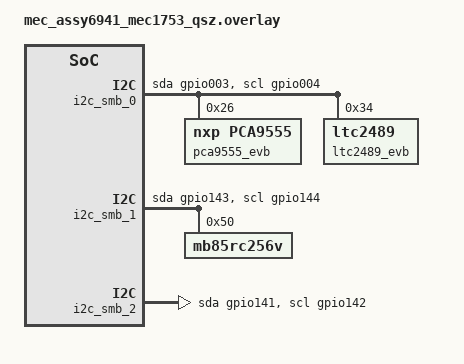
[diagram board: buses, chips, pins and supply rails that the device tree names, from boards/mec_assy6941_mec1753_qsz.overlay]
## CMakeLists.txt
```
# Copyright (c) 2025 Microchip Technology Inc.
#
# SPDX-License-Identifier: Apache-2.0
#
cmake_minimum_required(VERSION 3.20.0)

find_package(Zephyr REQUIRED HINTS $ENV{ZEPHYR_BASE})
project(mec_app_i2c)

FILE(GLOB app_sources src/*.c)
target_sources(app PRIVATE ${app_sources})
```

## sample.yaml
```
sample:
  description: Microchip MEC EVB I2C sample
  name: microchip_mec_i2c
tests:
  sample.board.i2c:
    platform_allow:
      - mec1501modular_assy6885
      - mec15xxevb_assy6853
      - mec172xevb_assy6906
      - mec172xmodular_assy6930
      - mec_assy6941/mec1743_qlj
      - mec_assy6941/mec1743_qsz
      - mec_assy6941/mec1753_qlj
      - mec_assy6941/mec1753_qsz
    tags: i2c
    depends_on:
      - gpio
      - pinctrl
      - i2c
```

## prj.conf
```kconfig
# Enable config log
CONFIG_STDOUT_CONSOLE=y
CONFIG_LOG=y
# default CONFIG_LOG_BUFFER_SIZE=1024
# increase since we are logging I2C driver target mode callbacks
CONFIG_LOG_BUFFER_SIZE=6144

# Default system work queue stack size is 1024 bytes
# Default works for this sample. A real application
# with other drivers or tasks using kworkq may require
# this value to be increased.
# CONFIG_SYSTEM_WORKQUEUE_STACK_SIZE=1024

CONFIG_I2C=y
CONFIG_I2C_XEC_PORT_MUX=y
CONFIG_I2C_TARGET=n
CONFIG_I2C_TARGET_BUFFER_MODE=n
CONFIG_I2C_LOG_LEVEL_DBG=y

# CONFIG_PM=y
CONFIG_PM_DEVICE=y

# debug macro expansion in C source files
# does not delete build/../source_c_file_name.c.i
# CONFIG_COMPILER_SAVE_TEMPS=y
```

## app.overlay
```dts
/*
 * Copyright (c) 2025 Microchip Technology Inc.
 *
 * SPDX-License-Identifier: Apache-2.0
 */

#include <zephyr/dt-bindings/gpio/gpio.h>
#include <zephyr/dt-bindings/gpio/microchip-xec-gpio.h>

/ {
	aliases {
		i2c0 = &i2c_smb_0;
		i2c-0 = &i2c_smb_0;
		i2c1 = &i2c_smb_1;
		i2c-1 = &i2c_smb_1;
		i2c-nl = &i2c_smb_2;
	};
};

/* Central DMA controller */
&dmac {
	compatible = "microchip,xec-dmac";
	status = "okay";
};

/* I2C Port 0 */
&i2c00_sda_gpio003 {
	drive-open-drain;
	output-enable;
	output-high;
	drive-strength = "4x";
};

&i2c00_scl_gpio004 {
	drive-open-drain;
	output-enable;
	output-high;
	drive-strength = "4x";
};

/* I2C Port 4 */
&i2c04_sda_gpio143 {
	drive-open-drain;
	output-enable;
	output-high;
	drive-strength = "4x";
};

&i2c04_scl_gpio144 {
	drive-open-drain;
	output-enable;
	output-high;
	drive-strength = "4x";
};

/* I2C Port 5 */
&i2c05_sda_gpio141 {
	drive-open-drain;
	output-enable;
	output-high;
	drive-strength = "4x";
};
&i2c05_scl_gpio142 {
	drive-open-drain;
	output-enable;
	output-high;
	drive-strength = "4x";
};

/* Zephyr will load NXP PCA9555 driver after i2c_smb_0 driver
 * Zephyr does not have a driver for ltc2489 I2C delta-sigma ADC
 */

&i2c_smb_0 {
	compatible = "microchip,xec-i2c-v3";
	status = "okay";

	port-sel = < 0 >;

	sda-gpios = < MCHP_GPIO_DECODE_003 0 >;
	scl-gpios = < MCHP_GPIO_DECODE_004 0 >;

	pinctrl-0 = < &i2c00_sda_gpio003 &i2c00_scl_gpio004 >;
	pinctrl-names = "default";

	pca9555_evb: pca9555@26 {
		/* compatible = "nxp,pca9555"; */
		reg = <0x26>;
		/* ngpios = <16>; */
		/* gpio-controller; */
		/* #gpio-cells = <2>; */
	};

	ltc2489_evb: ltc2489@34 {
		reg = <0x34>;
		#io-channels-cells = <1>;
	};
};

&i2c_smb_1 {
	compatible = "microchip,xec-i2c-v3";
	status = "okay";

	port-sel = < 4 >;

	sda-gpios = < MCHP_GPIO_DECODE_143 0 >;
	scl-gpios = < MCHP_GPIO_DECODE_144 0 >;

	pinctrl-0 = < &i2c04_sda_gpio143 &i2c04_scl_gpio144 >;
	pinctrl-names = "default";

};

/* I2C-NL and Central DMA controller race condition.
 * We must ensure DMA channel interrupt priorities are higher
 * than device drivers using DMA channels. The DMA driver interrupt
 * handler must run and complete before the peripheral driver using
 * DMA driver. Why? Peripheral driver may call DMA driver to reload
 * a channel from its ISR. If the DMA driver interrupt handler then
 * runs it will be out of sync with the reloaded channel!
 * Chip DTSI sets all interrupt priorities of dmac to 2.
 * We set any I2C controller using microchip,xec-i2c-nl driver to
 * priority 3 to 7(lowest).
 */
&i2c_smb_2 {
	compatible = "microchip,xec-i2c-nl";
	status = "okay";

	/* We must set I2C-NL interrupt for a lesser priority than DMA channels */
	interrupts = <22 3>;

	clock-frequency = <I2C_BITRATE_STANDARD>;

	port-sel = < 5 >;

	sda-gpios = < MCHP_GPIO_DECODE_141 0 >;
	scl-gpios = < MCHP_GPIO_DECODE_142 0 >;

	pinctrl-0 = < &i2c05_sda_gpio141 &i2c05_scl_gpio142 >;
	pinctrl-names = "default";

	dmas = <&dmac 4 5>, <&dmac 5 4>;
	dma-names = "host_mode", "target_mode";

	/* Transfer buffer size defaults to 32 bytes plus internal padding.
	 * Application can change the size: xfr-buffer-size = < size_in_bytes >;
	 * Miminum size is 4 bytes. Maximum size is 0xfffc bytes.
	 */
};
```

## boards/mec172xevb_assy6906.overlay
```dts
/*
 * Copyright (c) 2025 Microchip Technology Inc.
 *
 * SPDX-License-Identifier: Apache-2.0
 */

#include <microchip/mec5/mec1753qlj-a0-pinctrl.dtsi>

/ {
	aliases: {
		i2c-bb = &i2c_smb_0;
		i2c-nl = &i2c_smb_1;
		&i2c-nl-target = &i2c_smb_2;
	};
};

/* I2C port 0 */
&i2c00_sda_gpio003 = {
	drive-open-drain;
	output-enable;
	output-high;
	drive-strength = "4x";
};
&i2c00_scl_gpio004 = {
	drive-open-drain;
	output-enable;
	output-high;
	drive-strength = "4x";
};

/* I2C Port 4 */
&i2c04_sda_gpio143 {
	drive-open-drain;
	output-enable;
	output-high;
	drive-strength = "4x";
};
&i2c04_scl_gpio144 {
	drive-open-drain;
	output-enable;
	output-high;
	drive-strength = "4x";
};

/* I2C Port 5 */
&i2c05_sda_gpio141 {
	drive-open-drain;
	output-enable;
	output-high;
	drive-strength = "4x";
};
&i2c05_scl_gpio142 {
	drive-open-drain;
	output-enable;
	output-high;
	drive-strength = "4x";
};

&i2c_smb_0 {
	compatible = "microchip,xec-i2c-v2";
	clock-frequency = <I2C_BITRATE_STANDARD>;
	pinctrl-0 = <&i2c00_sda_gpio003 &i2c00_scl_gpio004>;
	pinctrl-names = "default";
	status = "okay";
};

&i2c_smb_1 {
	compatible = "microchip,xec-i2c-nl";
	clock-frequency = <I2C_BITRATE_STANDARD>;
	pinctrl-0 = <&i2c04_sda_gpio143 &i2c04_scl_gpio144>;
	pinctrl-names = "default";
	status = "enabled";
};

&i2c_smb_2 {
	compabile = "microchip,xec-i2c-nl";
	reg = <0x40004800 0x80>;
	clock-frequency = <I2C_BITRATE_STANDARD>;
	pinctrl-0 = <&i2c05_sda_gpio141 &i2c05_scl_gpio142>;
	pinctrl-names = "default";
	status = "disabled";
};
```

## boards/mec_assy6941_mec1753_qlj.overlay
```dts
/*
 * Copyright (c) 2025 Microchip Technology Inc.
 *
 * SPDX-License-Identifier: Apache-2.0
 */

#include <microchip/mec5/mec1753qlj-a0-pinctrl.dtsi>

/ {
	aliases {
		i2c-bb = &i2c_smb_0;
		i2c-nl = &i2c_smb_1;
		i2c-nl-target = &i2c_smb_2;
	};
};

&dmac {
	dma-channel-mask = <0xffff0>;
	status = "okay";
};

/* I2C port 0 */
&i2c00_sda_gpio003 {
	drive-open-drain;
	output-enable;
	output-high;
	drive-strength = "4x";
};
&i2c00_scl_gpio004 {
	drive-open-drain;
	output-enable;
	output-high;
	drive-strength = "4x";
};

/* I2C Port 4 */
&i2c04_sda_gpio143 {
	drive-open-drain;
	output-enable;
	output-high;
	drive-strength = "4x";
};
&i2c04_scl_gpio144 {
	drive-open-drain;
	output-enable;
	output-high;
	drive-strength = "4x";
};

/* I2C Port 5 */
&i2c05_sda_gpio141 {
	drive-open-drain;
	output-enable;
	output-high;
	drive-strength = "4x";
};
&i2c05_scl_gpio142 {
	drive-open-drain;
	output-enable;
	output-high;
	drive-strength = "4x";
};

&i2c_smb_0 {
/*	compatible = "microchip,xec-i2c-nl"; */
	compatible = "microchip,xec-i2c-v2";
	clock-frequency = <I2C_BITRATE_STANDARD>;
	pinctrl-0 = <&i2c00_sda_gpio003 &i2c00_scl_gpio004>;
	pinctrl-names = "default";
	port-sel = <0>;
/*	pcrs = <1 10>; */
/*	dmas = <&dmac 0 1>, <&dmac 1 0>; */
/*	dma-names = "cm", "tm"; */
/*	cm-buffer-size = <16>; */
/*	tm-rx-buffer-size = <16>; */
	status = "okay";
};

&i2c_smb_1 {
	compatible = "microchip,xec-i2c-nl";
	clock-frequency = <I2C_BITRATE_STANDARD>;
	pinctrl-0 = <&i2c04_sda_gpio143 &i2c04_scl_gpio144>;
	pinctrl-names = "default";
	port-sel = <4>;
	dmas = <&dmac 2 3>, <&dmac 3 2>;
	dma-names = "cm", "tm";
	cm-buffer-size = <16>;
	tm-rx-buffer-size = <16>;
	status = "okay";
};

&i2c_smb_2 {
	compabile = "microchip,xec-i2c-nl";
	clock-frequency = <I2C_BITRATE_STANDARD>;
	pinctrl-0 = <&i2c05_sda_gpio141 &i2c05_scl_gpio142>;
	pinctrl-names = "default";
	port-sel = <5>;
	dmas = <&dmac 4 5>, <&dmac 5 4>;
	dma-names = "cm", "tm";
	status = "disabled";
};
```

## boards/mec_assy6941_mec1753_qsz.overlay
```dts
/*
 * Copyright (c) 2025 Microchip Technology Inc.
 *
 * SPDX-License-Identifier: Apache-2.0
 */

/ {
	aliases {
		i2c0 = &i2c_smb_0;
		i2c-0 = &i2c_smb_0;
		i2c1 = &i2c_smb_1;
		i2c-1 = &i2c_smb_1;
		i2c2 = &i2c_smb_2;
		i2c-2 = &i2c_smb_2;
	};

	zephyr,user {
		pinctrl-0 = <&tst_clk_out_gpio060>;
		pinctrl-names = "default";
	};
};

/* I2C Port 0 */
&i2c00_scl_gpio004 {
	drive-open-drain;
	output-enable;
	output-high;
	drive-strength = "4x";
};
&i2c00_sda_gpio003 {
	drive-open-drain;
	output-enable;
	output-high;
	drive-strength = "4x";
};

/* I2C Port 4 */
&i2c04_sda_gpio143 {
	drive-open-drain;
	output-enable;
	output-high;
	drive-strength = "4x";
};
&i2c04_scl_gpio144 {
	drive-open-drain;
	output-enable;
	output-high;
	drive-strength = "4x";
};

/* I2C Port 5 */
&i2c05_sda_gpio141 {
	drive-open-drain;
	output-enable;
	output-high;
	drive-strength = "4x";
};
&i2c05_scl_gpio142 {
	drive-open-drain;
	output-enable;
	output-high;
	drive-strength = "4x";
};

&i2c_smb_0 {
	compatible = "microchip,xec-i2c-ctrl";
	pcrs = < 1 10 >;
	port_sel = < 0 >;
	pinctrl-0 = < &i2c00_sda_gpio003 &i2c00_scl_gpio004 >;
	pinctrl-names = "default";

	pca9555_evb: pca9555@26 {
		/* Zephyr will load NXP PCA9555 driver after MEC5 I2C because it calls MEC5 I2C during init */
		compatible = "nxp,pca9555";
		reg = <0x26>;
		ngpios = <16>;
		gpio-controller;
		#gpio-cells = <2>;
	};

	ltc2489_evb: ltc2489@34 {
		/* No Zephyr driver exists */
		reg = <0x34>;
		#io-channels-cells = <1>;
	};

	status = "okay";
};

&i2c_smb_1 {
	compatible = "microchip,xec-i2c-ctrl";
	pcrs = < 3, 13 >;
	port_sel = < 4 >;
	pinctrl-0 = < &i2c04_sda_gpio143 &i2c04_scl_gpio144 >;
	pinctrl-names = "default";

	/* External Fujitsu MB85RC256V 256KB (32K x 8) FRAM */
	mb85rc256v: mb85rc256v@50 {
		/* No Zephyr driver exists */
		reg = <0x50>;
	};

	status = "okay";
};

&i2c_smb_2 {
	compatible = "microchip,xec-i2c-ctrl";
	pcrs = < 3, 14 >;
	interrupts = <22 3>; /* lower priority than default priority of DMA channels */
	port_sel = < 5 >;
	pinctrl-0 = < &i2c05_sda_gpio141 &i2c05_scl_gpio142 >;
	pinctrl-names = "default";
/*	dmas = <&dmac 4 0x5>, <&dmac 5 0x4>; */
/*	dma-names = "cm", "tm"; */
	status = "okay";
};
```

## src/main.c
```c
/*
 * Copyright (c) 2025 Microchip Technology Inc.
 *
 * SPDX-License-Identifier: Apache-2.0
 */

#include "sys/errno.h"
#include <errno.h>
#include <stdio.h>
#include <string.h>
#include <soc.h>

#include <zephyr/kernel.h>
#include <zephyr/device.h>
#include <zephyr/drivers/i2c.h>
#include <zephyr/drivers/i2c/mchp_xec_i2c.h>
#include <zephyr/logging/log.h>

LOG_MODULE_REGISTER(app, CONFIG_LOG_DEFAULT_LEVEL);

#include "target_tests.h"

#define PCA9555_CMD_PORT0_IN  0
#define PCA9555_CMD_PORT1_IN  1u
#define PCA9555_CMD_PORT0_OUT 2u
#define PCA9555_CMD_PORT1_OUT 3u
#define PCA9555_CMD_PORT0_POL 4u
#define PCA9555_CMD_PORT1_POL 5u
#define PCA9555_CMD_PORT0_CFG 6u
#define PCA9555_CMD_PORT1_CFG 7u

#define PCA9555_I2C_ADDR DT_REG_ADDR(DT_NODELABEL(pca9555_evb))
#define LTC2489_I2C_ADDR DT_REG_ADDR(DT_NODELABEL(ltc2489_evb))
#define FRAM_I2C_ADDR    0x50u

static const struct device *i2c0_dev = DEVICE_DT_GET(DT_ALIAS(i2c0));
static const struct device *i2c1_dev = DEVICE_DT_GET(DT_ALIAS(i2c1));

#if DT_HAS_COMPAT_STATUS_OKAY(microchip_xec_i2c_nl)
#define APP_HAS_I2C_NL
static const struct device *i2c_nl_dev = DEVICE_DT_GET(DT_ALIAS(i2c_nl));
#endif

volatile uint32_t spin_val;

uint8_t i2c_wr_buf[64];
uint8_t i2c_rd_buf[64];

#define TARGET_I2C_ADDR2_RX_BUF_SIZE 10
#define TARGET_I2C_ADDR2_TX_BUF_SIZE 10

uint8_t i2c0_tx_buf[256];
uint8_t i2c0_rx_buf[256];

#ifdef APP_HAS_I2C_NL
static int i2c_nl_test1(const struct device *i2c_dev);
#endif

static int fill_buf(uint8_t *buf, uint32_t buflen, uint8_t val, uint8_t flags);

int main(void)
{
	uint32_t i2c0_config = 0;
	uint16_t i2c_addr = 0;
	size_t nread = 0, nwrite = 0;
#ifdef APP_HAS_I2C_NL
	bool i2c_nl_ready = false;
#endif
	int rc = 0;

	if (!device_is_ready(i2c0_dev)) {
		LOG_ERR("I2C 0 device [%s] not ready!", i2c0_dev->name);
		return -1;
	}

	if (!device_is_ready(i2c1_dev)) {
		LOG_ERR("I2C 1 device [%s] not ready!", i2c1_dev->name);
		return -2;
	}

#ifdef APP_HAS_I2C_NL
	if (!device_is_ready(i2c_nl_dev)) {
		LOG_ERR("I2C 2 device [%s] not ready!", i2c_nl_dev->name);
		return -2;
	} else {
		i2c_nl_ready = true;
	}
#endif

	LOG_INF("Configure I2C 0 as controller at 100KHz");

	i2c0_config = I2C_MODE_CONTROLLER | I2C_SPEED_SET(I2C_SPEED_STANDARD);

	rc = i2c_configure(i2c0_dev, i2c0_config);
	if (rc != 0) {
		LOG_ERR("I2C 0 device config failed");
		return -3;
	}

	LOG_INF("PCA9555 on I2C 0: Read the two data registers");

	memset(i2c_rd_buf, 0x55, sizeof(i2c_rd_buf));

	i2c_addr = (uint16_t)PCA9555_I2C_ADDR;
	i2c_wr_buf[0] = PCA9555_CMD_PORT0_IN;

	nread = 2u;
	nwrite = 1u;

	rc = i2c_write_read(i2c0_dev, i2c_addr, (const void *)i2c_wr_buf, nwrite,
			    (void *)i2c_rd_buf, nread);
	if (rc != 0) {
		LOG_ERR("i2c_write_read error (%d)", rc);
		return -4;
	}

#ifdef APP_HAS_I2C_NL
	rc = i2c_nl_test1(i2c_nl_dev);
	LOG_INF("I2C-NL test 1 returned (%d)", rc);
#endif

#if defined(CONFIG_I2C_TARGET) && defined(APP_HAS_I2C_NL)
	rc = target_i2c_nl_prepare_tests(i2c0_dev);
	LOG_INF("Target I2C-NL prepare returned (%d)", rc);

	rc = target_i2c_nl_run_tests(i2c0_dev);
	LOG_INF("Target I2C-NL run tests returned (%d)", rc);
#endif

	LOG_INF("Program End");

	return 0;
}

static int fill_buf(uint8_t *buf, uint32_t buflen, uint8_t val, uint8_t flags)
{
	if ((buf == NULL) || (buflen == 0)) {
		return -EINVAL;
	}

	if (flags == 0) {
		memset((void *)buf, val, buflen);
	} else {
		for (uint32_t n = 0; n < buflen; n++) {
			buf[n] = val;
			val++;
		}
	}

	return 0;
}

#ifdef APP_HAS_I2C_NL
#define TEST_ORDER_WR_RD
 /* HW issue exists independent of transaction order. */

static int i2c_nl_test1(const struct device *i2c_dev)
{
	struct i2c_msg msgs[4] = {0};
	int rc = 0;
	uint16_t i2c_addr = 0;
	uint8_t nmsgs = 0;

	fill_buf(i2c0_tx_buf, 16u, 0x11u, 1u);

#ifdef TEST_ORDER_WR_RD
	LOG_INF("Test I2C-NL one write message");
	i2c_addr = FRAM_I2C_ADDR;
	nmsgs = 1u;

	msgs[0].buf = i2c0_tx_buf;
	msgs[0].len = 4u;
	msgs[0].flags = I2C_MSG_WRITE | I2C_MSG_STOP;

	rc = i2c_transfer(i2c_dev, msgs, nmsgs, i2c_addr);
	LOG_INF("  API returned (%d)", rc);

	LOG_INF("Test I2C-NL one read message");
	memset((void *)i2c0_rx_buf, 0xAA, 8);

	i2c_addr = FRAM_I2C_ADDR;
	nmsgs = 1u;

	msgs[0].buf = i2c0_rx_buf;
	msgs[0].len = 4u;
	msgs[0].flags = I2C_MSG_READ | I2C_MSG_STOP;

	rc = i2c_transfer(i2c_dev, msgs, nmsgs, i2c_addr);
	LOG_INF("  API returned (%d)", rc);
#else
	LOG_INF("Test I2C-NL one read message");
	memset((void *)i2c0_rx_buf, 0xAA, 8);

	i2c_addr = FRAM_I2C_ADDR;
	nmsgs = 1u;

	msgs[0].buf = i2c0_rx_buf;
	msgs[0].len = 4u;
	msgs[0].flags = I2C_MSG_READ | I2C_MSG_STOP;

	rc = i2c_transfer(i2c_dev, msgs, nmsgs, i2c_addr);
	LOG_INF("  API returned (%d)", rc);

	LOG_INF("Test I2C-NL one write message");
	i2c_addr = FRAM_I2C_ADDR;
	nmsgs = 1u;

	msgs[0].buf = i2c0_tx_buf;
	msgs[0].len = 4u;
	msgs[0].flags = I2C_MSG_WRITE | I2C_MSG_STOP;

	rc = i2c_transfer(i2c_dev, msgs, nmsgs, i2c_addr);
	LOG_INF("  API returned (%d)", rc);
#endif
	LOG_INF("Test I2C-NL two write messages");
	i2c_addr = FRAM_I2C_ADDR;
	nmsgs = 2u;

	msgs[0].buf = i2c0_tx_buf;
	msgs[0].len = 2u;
	msgs[0].flags = I2C_MSG_WRITE;

	msgs[1].buf = &i2c0_tx_buf[2];
	msgs[1].len = 4u;
	msgs[1].flags = I2C_MSG_WRITE | I2C_MSG_STOP;

	rc = i2c_transfer(i2c_dev, msgs, nmsgs, i2c_addr);
	LOG_INF("  API returned (%d)", rc);

	LOG_INF("Test I2C-NL Write-Read");
	i2c_addr = FRAM_I2C_ADDR;
	nmsgs = 2u;

	msgs[0].buf = i2c0_tx_buf;
	msgs[0].len = 2u;
	msgs[0].flags = I2C_MSG_WRITE;

	msgs[1].buf = i2c0_rx_buf;
	msgs[1].len = 8u;
	msgs[1].flags = I2C_MSG_READ | I2C_MSG_STOP;

	rc = i2c_transfer(i2c_dev, msgs, nmsgs, i2c_addr);
	LOG_INF("  API returned (%d)", rc);

	LOG_INF("Test I2C-NL Write message > driver xfrbuf size");
	fill_buf(i2c0_tx_buf, 66u, 0, 1);

	i2c_addr = FRAM_I2C_ADDR;
	nmsgs = 1u;

	msgs[0].buf = i2c0_tx_buf;
	msgs[0].len = 66u;
	msgs[0].flags = I2C_MSG_WRITE | I2C_MSG_STOP;

	rc = i2c_transfer(i2c_dev, msgs, nmsgs, i2c_addr);
	LOG_INF("  API returned (%d)", rc);

	/* Large Write-Write */
	LOG_INF("Test I2C-NL Write-Write 64 bytes to FRAM address 0x2000");
	i2c_addr = FRAM_I2C_ADDR;
	nmsgs = 2u;

	fill_buf(&i2c0_tx_buf[2], 64, 0, 1);

	i2c0_tx_buf[0] = 0x20u; /* address MSB */
	i2c0_tx_buf[1] = 0u; /* address LSB */

	msgs[0].buf = i2c0_tx_buf;
	msgs[0].len = 2u;
	msgs[0].flags = I2C_MSG_WRITE;

	msgs[1].buf = &i2c0_tx_buf[2];
	msgs[1].len = 64u;
	msgs[1].flags = I2C_MSG_WRITE | I2C_MSG_STOP;

	rc = i2c_transfer(i2c_dev, msgs, nmsgs, i2c_addr);
	LOG_INF("  API returned (%d)", rc);


	/* Large Write-Read */
	LOG_INF("Test I2C-NL Write-Read 64 bytes from FRAM address 0x2000");
	i2c_addr = FRAM_I2C_ADDR;
	nmsgs = 2u;

	fill_buf(i2c0_rx_buf, 64, 0x55, 0);

	i2c0_tx_buf[0] = 0x20u; /* address MSB */
	i2c0_tx_buf[1] = 0u; /* address LSB */

	msgs[0].buf = i2c0_tx_buf;
	msgs[0].len = 2u;
	msgs[0].flags = I2C_MSG_WRITE;

	msgs[1].buf = i2c0_rx_buf;
	msgs[1].len = 64u;
	msgs[1].flags = I2C_MSG_READ | I2C_MSG_STOP;

	rc = i2c_transfer(i2c_dev, msgs, nmsgs, i2c_addr);
	LOG_INF("  API returned (%d)", rc);

	rc = memcmp(&i2c0_tx_buf[2], i2c0_rx_buf, 64);
	LOG_INF("Mem compare 64 byte TX data with RX data is (%d)", rc);

	return 0;
}
#endif /* APP_HAS_I2C_NL */
```

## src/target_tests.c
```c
/*
 * Copyright (c) 2025 Microchip Technology Inc.
 *
 * SPDX-License-Identifier: Apache-2.0
 */

#include <zephyr/drivers/i2c.h>
#include <zephyr/drivers/i2c/mchp_xec_i2c.h>
#include <zephyr/logging/log.h>
#include "target_tests.h"

LOG_MODULE_DECLARE(app);

/* ISSUE:
 * CONFIG_I2C_TARGET and CONFIG_I2C_TARGET_BUFFER_MODE are global kconfig's
 *
 */
#if 0 /* unused at this time */
static const struct device *i2c1_dev = DEVICE_DT_GET(DT_ALIAS(i2c1));
#endif

#if DT_HAS_COMPAT_STATUS_OKAY(microchip_xec_i2c_nl)
#define APP_HAS_I2C_NL
static const struct device *i2c_nl_dev = DEVICE_DT_GET(DT_ALIAS(i2c_nl));
#endif

static struct i2c_target_config i2c1_target;
static struct i2c_target_config i2c2_target;
static volatile uint32_t i2c1_target_wr_req_cb_cnt;
static volatile uint32_t i2c1_target_rd_req_cb_cnt;
static volatile uint32_t i2c1_target_wr_recv_cb_cnt;
static volatile uint32_t i2c1_target_rd_proc_cb_cnt;
static volatile uint32_t i2c1_target_stop_cb_cnt;
#ifdef CONFIG_I2C_TARGET_BUFFER_MODE
static volatile uint32_t i2c2_target_buf_wr_recv_cb_cnt;
static volatile uint32_t i2c2_target_buf_rd_req_cb_cnt;
static volatile uint32_t i2c2_target_stop_cb_cnt;
#endif

static int i2c1_target_write_requested_cb(struct i2c_target_config *config);
static int i2c1_target_read_requested_cb(struct i2c_target_config *config, uint8_t *val);
static int i2c1_target_write_received_cb(struct i2c_target_config *config, uint8_t val);
static int i2c1_target_read_processed_cb(struct i2c_target_config *config, uint8_t *val);
static int i2c1_target_stop_cb(struct i2c_target_config *config);

static int i2c2_target_stop_cb(struct i2c_target_config *config);

#ifdef CONFIG_I2C_TARGET_BUFFER_MODE

#define I2C2_TM_HOST_WR_BUF_SIZE 128u
#define I2C2_TM_HOST_RD_BUF_SIZE 48u

uint8_t *i2c_tm_host_wr_buf_ptr;
uint8_t *i2c_tm_host_rd_buf_ptr;
uint8_t i2c_tm_host_wr_buf[I2C2_TM_HOST_WR_BUF_SIZE];
uint8_t i2c_tm_host_rd_buf[I2C2_TM_HOST_RD_BUF_SIZE];

static void i2c2_target_buf_write_received_cb(struct i2c_target_config *config, uint8_t *ptr,
					      uint32_t len);
static int i2c2_target_buf_read_requested_cb(struct i2c_target_config *config, uint8_t **ptr,
					     uint32_t *len);
#endif

const struct i2c_target_callbacks i2c_byte_mode_callbacks = {
	.write_requested = i2c1_target_write_requested_cb,
	.read_requested = i2c1_target_read_requested_cb,
	.write_received = i2c1_target_write_received_cb,
	.read_processed = i2c1_target_read_processed_cb,
#ifdef CONFIG_I2C_TARGET_BUFFER_MODE
	.buf_write_received = NULL,
	.buf_read_requested = NULL,
#endif
	.stop = i2c1_target_stop_cb,
};

const struct i2c_target_callbacks i2c_buffer_mode_callbacks = {
	.write_requested = NULL,
	.read_requested = NULL,
	.write_received = NULL,
	.read_processed = NULL,
#ifdef CONFIG_I2C_TARGET_BUFFER_MODE
	.buf_write_received = i2c2_target_buf_write_received_cb,
	.buf_read_requested = i2c2_target_buf_read_requested_cb,
#endif
	.stop = i2c2_target_stop_cb,
};

struct xec_i2c_info {
	const struct device *dev;
	uint32_t flags;
	uint8_t port;
};

#define XEC_I2C_V3_INFO(nid)                                                                       \
	{                                                                                          \
		.dev = DEVICE_DT_GET(nid),                                                         \
		.flags = 0,                                                                        \
		.port = DT_PROP(nid, port_sel),                                                    \
	},

#define XEC_I2C_NL_INFO(nid)                                                                       \
	{                                                                                          \
		.dev = DEVICE_DT_GET(nid),                                                         \
		.flags = BIT(0),                                                                   \
		.port = DT_PROP(nid, port_sel),                                                    \
	},

const struct xec_i2c_info i2c_xec_driver_devices[] = {
	DT_FOREACH_STATUS_OKAY(microchip_xec_i2c_v3, XEC_I2C_V3_INFO)
		DT_FOREACH_STATUS_OKAY(microchip_xec_i2c_nl, XEC_I2C_NL_INFO)};

const struct device *find_first_i2c_nl_device(void)
{
	for (size_t n = 0; n < ARRAY_SIZE(i2c_xec_driver_devices); n++) {
		const struct xec_i2c_info *p = &i2c_xec_driver_devices[n];

		if (p->flags & BIT(0)) {
			return p->dev;
		}
	}

	return NULL;
}

const struct xec_i2c_info *find_i2c_info(const struct device *i2c_dev)
{
	if (i2c_dev == NULL) {
		return NULL;
	}

	for (size_t n = 0; n < ARRAY_SIZE(i2c_xec_driver_devices); n++) {
		const struct xec_i2c_info *p = &i2c_xec_driver_devices[n];

		if (p->dev == i2c_dev) {
			return p;
		}
	}

	return NULL;
}

void clear_target_cb_counts(void)
{
	i2c1_target_wr_req_cb_cnt = 0;
	i2c1_target_rd_req_cb_cnt = 0;
	i2c1_target_wr_recv_cb_cnt = 0;
	i2c1_target_rd_proc_cb_cnt = 0;
	i2c1_target_stop_cb_cnt = 0;
#ifdef CONFIG_I2C_TARGET_BUFFER_MODE
	i2c2_target_buf_wr_recv_cb_cnt = 0;
	i2c2_target_buf_rd_req_cb_cnt = 0;
	i2c2_target_stop_cb_cnt = 0;
#endif
}

void reset_target_read_buf(void)
{
	i2c_tm_host_rd_buf_ptr = i2c_tm_host_rd_buf;
}

void reset_target_write_buf(void)
{
	i2c_tm_host_wr_buf_ptr = i2c_tm_host_wr_buf;
}

int target_config(const struct device *i2c_dev, uint16_t targ_addr)
{
	struct i2c_target_config *tc = NULL;
	const struct xec_i2c_info *p = NULL;
	size_t n = 0;

	if (targ_addr > 0x7Fu) {
		LOG_ERR("MEC I2C HW does not support 10-bit I2C addressing");
		return -EINVAL;
	}

	for (n = 0; n < ARRAY_SIZE(i2c_xec_driver_devices); n++) {
		p = &i2c_xec_driver_devices[n];

		if (p->dev == i2c_dev) {
			if ((p->flags & BIT(0)) != 0) {
				tc = &i2c2_target;
				tc->callbacks = &i2c_buffer_mode_callbacks;
			} else {
				tc = &i2c1_target;
				tc->callbacks = &i2c_byte_mode_callbacks;
			}
			break;
		}
	}

	if (tc == NULL) {
		return -EINVAL;
	}

	tc->address = targ_addr;
	tc->flags = 0; /* HW does not support 10-bit I2C addresses */

	return i2c_target_register(i2c_dev, tc);
}

int i2c_nl_target_test1(const struct device *host_i2c_dev, const struct device *targ_i2c_dev,
			uint16_t targ_i2c_addr)
{
	int rc = 0;
	const uint8_t buf[16] = {0x11u, 0x12u, 0x13u, 0x14u, 0x15u, 0x16u, 0x17u, 0x18u,
				 0x19u, 0x1Au, 0x1Bu, 0x1Cu, 0x1Du, 0x1Eu, 0x1Fu, 0x20u};

	i2c_mchp_xec_nl_debug_init(targ_i2c_dev);

	rc = i2c_write(host_i2c_dev, buf, 16, targ_i2c_addr);
	LOG_INF("i2c write %u bytes to I2C target address 0x%0x returned (%d)", 16, targ_i2c_addr,
		rc);

	return rc;
}

int i2c_nl_target_test2(const struct device *host_i2c_dev, const struct device *targ_i2c_dev,
			uint16_t targ_i2c_addr)
{
	int rc = 0;
	const uint8_t wrbuf[2] = {0x20, 0x00u};
	uint8_t rdbuf[4] = {0};

	i2c_mchp_xec_nl_debug_init(targ_i2c_dev);

	rc = i2c_write_read(host_i2c_dev, targ_i2c_addr, wrbuf, 2, rdbuf, 4u);
	LOG_INF("i2c write-read at address 0x%0x nwr=2 nr=4 returned (%d)", targ_i2c_addr, rc);

	return rc;
}

int i2c_nl_target_test3(const struct device *host_i2c_dev, const struct device *targ_i2c_dev,
			uint16_t targ_i2c_addr)
{
	int rc = 0;
	uint32_t nread = 16u;
	uint8_t rdbuf[16] = {0x55u};

	i2c_mchp_xec_nl_debug_init(targ_i2c_dev);

	rc = i2c_read(host_i2c_dev, rdbuf, nread, targ_i2c_addr);
	LOG_INF("i2c read of %u bytes at address 0x%0x returned (%d)", nread, targ_i2c_addr, rc);

	rc = memcmp(rdbuf, i2c_tm_host_rd_buf, nread);
	LOG_INF("i2c read of %u bytes data match result(0 is match): (%d)", nread, rc);

	return rc;
}

int get_i2c_port(const struct device *i2c_dev, uint8_t *port)
{
#ifdef CONFIG_I2C_XEC_PORT_MUX
	uint32_t i2c_cfg = 0;

	if ((i2c_dev == NULL) || (i2c_get_config(i2c_dev, &i2c_cfg) != 0)) {
		return -EINVAL;
	}

	*port = I2C_XEC_PORT_GET(i2c_cfg);
#else
	const struct xec_i2c_info *p = find_i2c_info(i2c_dev);

	if ((p == NULL) || (port == NULL)) {
		return -EINVAL;
	}

	*port = p->port;
#endif
	return 0;
}

int target_i2c_nl_prepare_tests(const struct device *i2c_host_dev)
{
	int rc = 0;
	uint32_t host_i2c_cfg = 0, targ_i2c_cfg = 0, new_cfg = 0;
	uint32_t host_speed = 0, targ_speed = 0, desired_speed = 0;
	uint8_t host_port = 0, targ_port = 0;
	bool reconfig = false;

	if (i2c_host_dev == NULL) {
		return -EINVAL;
	}

	i2c_get_config(i2c_host_dev, &host_i2c_cfg);
	i2c_get_config(i2c_nl_dev, &targ_i2c_cfg);

	host_speed = I2C_SPEED_GET(host_i2c_cfg);
	targ_speed = I2C_SPEED_GET(targ_i2c_cfg);

	get_i2c_port(i2c_host_dev, &host_port);
	get_i2c_port(i2c_nl_dev, &targ_port);

	if (host_speed != targ_speed) {
		reconfig = true;
		desired_speed = MIN(host_speed, targ_speed);
		new_cfg |= I2C_SPEED_SET(desired_speed);
	} else {
		new_cfg |= I2C_SPEED_SET(host_speed);
	}

#ifdef CONFIG_I2C_XEC_PORT_MUX
	new_cfg |= I2C_XEC_PORT_SET((uint32_t)targ_port);
	if (host_port != targ_port) {
		reconfig = true;
	}
#else
	if (host_port != targ_port) {
		LOG_ERR("Host and target I2C ports are different and no port mux support");
		return -EIO;
	}
#endif

	if (reconfig == true) {
		LOG_INF("Reconfiguration required!");
		new_cfg |= I2C_MODE_CONTROLLER;
		rc = i2c_configure(i2c_host_dev, new_cfg);
		if (rc != 0) {
			LOG_ERR("Host I2C reconfig error (%d)", rc);
			return rc;
		}
		rc = i2c_configure(i2c_nl_dev, new_cfg);
		if (rc != 0) {
			LOG_ERR("Target I2C reconfig error (%d)", rc);
			return rc;
		}
	}

	rc = target_config(i2c_nl_dev, I2C2_TARG_ADDR1);
	if (rc != 0) {
		LOG_ERR("Register address 0x%0x with I2C-NL failed (%d)", I2C2_TARG_ADDR1, rc);
		return rc;
	}

#ifdef CONFIG_I2C_TARGET_BUFFER_MODE
	i2c_tm_host_wr_buf_ptr = i2c_tm_host_wr_buf;
	i2c_tm_host_rd_buf_ptr = i2c_tm_host_rd_buf;

	memset(i2c_tm_host_wr_buf, 0x55, I2C2_TM_HOST_WR_BUF_SIZE);
	for (uint32_t n = 0; n < I2C2_TM_HOST_RD_BUF_SIZE; n++) {
		i2c_tm_host_rd_buf[n] = (uint8_t)(n & 0xffu);
	}
#endif
	return 0;
}

int target_i2c_nl_run_tests(const struct device *i2c_host_dev)
{
	int rc = 0;

	if (i2c_host_dev == NULL) {
		return -EINVAL;
	}

	clear_target_cb_counts();
	i2c_mchp_xec_nl_debug_init(i2c_nl_dev);

	rc = i2c_nl_target_test1(i2c_host_dev, i2c_nl_dev, I2C2_TARG_ADDR1);
	LOG_INF("I2C-NL target test 1 returned (%d)", rc);

	clear_target_cb_counts();
	reset_target_read_buf();
	reset_target_write_buf();
	i2c_mchp_xec_nl_debug_init(i2c_nl_dev);

	rc = i2c_nl_target_test2(i2c_host_dev, i2c_nl_dev, I2C2_TARG_ADDR1);
	LOG_INF("I2C-NL target test 2 returned (%d)", rc);

	clear_target_cb_counts();
	reset_target_read_buf();
	reset_target_write_buf();
	i2c_mchp_xec_nl_debug_init(i2c_nl_dev);

	rc = i2c_nl_target_test3(i2c_host_dev, i2c_nl_dev, I2C2_TARG_ADDR1);
	LOG_INF("I2C-NL target test 3 returned (%d)", rc);

	return rc;
}

/* Invoked by I2C driver when a START with matching target write address is received.
 * Return 0 to inform the driver to the transaction. HW has auto-ACK'd the address..
 * Return <0(error) informing the driver to not respond. The driver will clear auto-ACK
 * so future bytes transmitted by the external Host will be NACK'd. No callbacks on
 * data bytes will be invoked. Driver will invoke STOP callback.
 */
static int i2c1_target_write_requested_cb(struct i2c_target_config *config)
{
	i2c1_target_wr_req_cb_cnt++;

	return 0; /* TODO */
}

/* Invoked by I2C driver when a START with matching target read address is receivied.
 * Return 0 with val = data byte for external Host if app accepts the read request.
 * Return < 0(error code) if app wants driver to not respond. In our case HW address
 * matching has ACK'd the address. Our driver will supply 0xFF as data and not make
 * further callbacks until external Host issues STOP. Driver will invoke the STOP
 * callback.
 */
static int i2c1_target_read_requested_cb(struct i2c_target_config *config, uint8_t *val)
{
	i2c1_target_rd_req_cb_cnt++;

	return 0; /* TODO */
}

/* Invokded by I2C driver when a data byte is received and ACK'd by the driver.
 * Return 0 informs the driver to ACK the next data byte from the external Host.
 * Return <0(error) informing the driver to NACK all future data bytes. No more
 *        data callbacks will be made. Expect driver to issue STOP callback when
 *        external Host gives up and issues STOP.
 */
static int i2c1_target_write_received_cb(struct i2c_target_config *config, uint8_t val)
{
	i2c1_target_wr_recv_cb_cnt++;

	return 0; /* TODO */
}

/* Invokded by I2C driver when it needs a data byte to service external Host read.
 * Return 0 with val pointing to data for driver to provide to external Host.
 * Return <0(error) indicating no more data for external Host. Driver will supply
 *        0xFF to external Host. Driver will make this callback again. Only STOP
 *        callback will be issued.
 */
static int i2c1_target_read_processed_cb(struct i2c_target_config *config, uint8_t *val)
{
	i2c1_target_rd_proc_cb_cnt++;

	return 0; /* TODO */
}

/* Invoked by the driver when it detects STOP generated by external Host
 * Should the driver issue this callback on other conditions such as:
 * I2C bus error or I2C lost arbitration? This is the only callback informing
 * the application the current transfer has ended.
 * Driver ignores the return value per i2c.h documentation.
 */
static int i2c1_target_stop_cb(struct i2c_target_config *config)
{
	i2c1_target_stop_cb_cnt++;

	return 0;
}

static int i2c2_target_stop_cb(struct i2c_target_config *config)
{
	i2c2_target_stop_cb_cnt++;

	return 0;
}

#ifdef CONFIG_I2C_TARGET_BUFFER_MODE

/* Invoked by the driver upon reception of data from the external Host when:
 * drivers internal buffer is full or STOP received before internal buffer is full.
 * Driver passes a pointer to its internal buffer and length of data received.
 * The app MUST copy this data or process it before returning. Upon return, the
 * driver will stop clock stretching allowing the external Host to continue the
 * transaction.
 */
static void i2c2_target_buf_write_received_cb(struct i2c_target_config *config, uint8_t *ptr,
					      uint32_t len)
{
	uint32_t ncopy = 0;

	i2c2_target_buf_wr_recv_cb_cnt++;

	ncopy = sizeof(i2c_tm_host_wr_buf) -
		((uint32_t)(i2c_tm_host_wr_buf_ptr - i2c_tm_host_wr_buf));

	if (len < ncopy) {
		ncopy = len;
	}

	memcpy(i2c_tm_host_wr_buf_ptr, ptr, ncopy);
	i2c_tm_host_wr_buf_ptr += ncopy;
}

/* Invoked by the driver when it needs data to supply an ongoing Host read.
 * Return 0 and supply pointer to app buffer and fill in length. Driver uses
 * the buffer to supply bytes to Host.
 * Return <0 if app has no more data. Driver supply dummy data to external
 * Host until the Host issues STOP.
 *
 */
static int i2c2_target_buf_read_requested_cb(struct i2c_target_config *config, uint8_t **ptr,
					     uint32_t *len)
{
	uint8_t *buf_end = i2c_tm_host_rd_buf + sizeof(i2c_tm_host_rd_buf);
	uint32_t rem_buf_len = 0;

	i2c2_target_buf_rd_req_cb_cnt++;

	if ((ptr == NULL) || (len == NULL)) {
		return -EINVAL;
	}

	if (i2c_tm_host_rd_buf_ptr < buf_end) {
		rem_buf_len = (uint32_t)(buf_end - i2c_tm_host_rd_buf_ptr);
	}

	if (rem_buf_len != 0) {
		*ptr = i2c_tm_host_rd_buf_ptr;
		*len = rem_buf_len;
		i2c_tm_host_rd_buf_ptr += rem_buf_len;
	} else {
		*ptr = NULL;
		*len = 0u;
	}

	return 0;
}
#endif /* CONFIG_I2C_TARGET_BUFFER_MODE */
```

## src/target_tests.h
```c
/*
 * Copyright (c) 2025 Microchip Technology Inc.
 *
 * SPDX-License-Identifier: Apache-2.0
 */
#ifndef _ZEPHYR_SAMPLES_BOARDS_MICROCHIP_I2C_TARGET_TESTS_H
#define _ZEPHYR_SAMPLES_BOARDS_MICROCHIP_I2C_TARGET_TESTS_H

#include <zephyr/device.h>

#define I2C1_TARG_ADDR1 0x40u
#define I2C1_TARG_ADDR2 0x41u
#define I2C2_TARG_ADDR1 0x20u
#define I2C2_TARG_ADDR2 0x21u

int target_config(const struct device *i2c_dev, uint16_t targ_addr);
int target_i2c_nl_prepare_tests(const struct device *i2c_host_dev);
int target_i2c_nl_run_tests(const struct device *i2c_host_dev);

#endif /* _ZEPHYR_SAMPLES_BOARDS_MICROCHIP_I2C_TARGET_TESTS_H */
```
